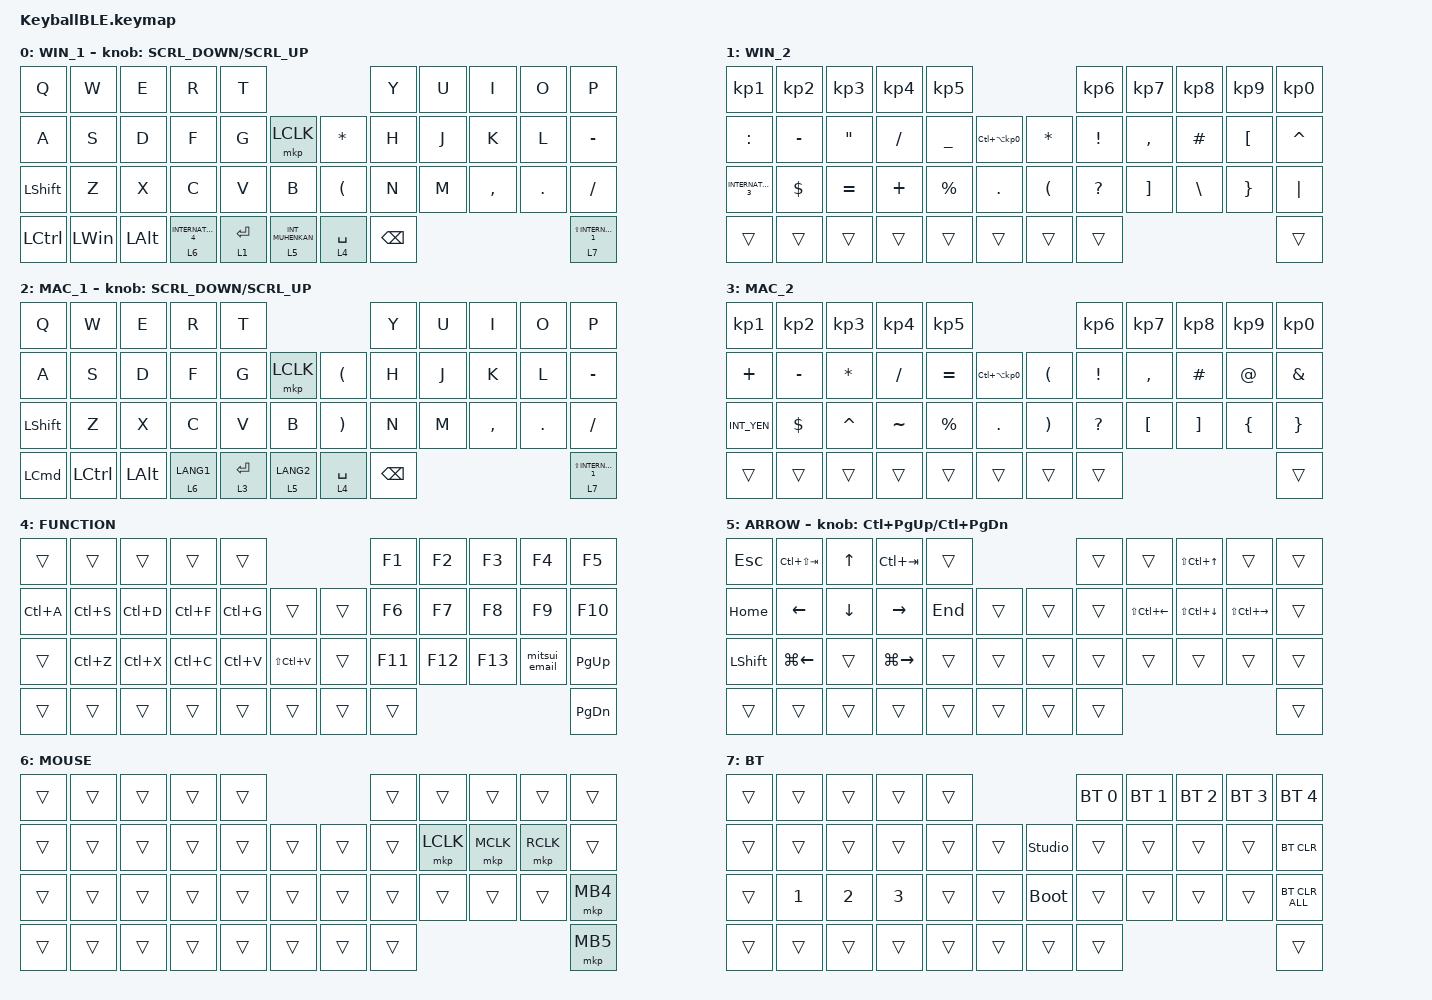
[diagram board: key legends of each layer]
#define ZMK_POINTING_DEFAULT_SCRL_VAL 120    // default: 10

#include <input/processors.dtsi>
#include <behaviors.dtsi>
#include <dt-bindings/zmk/bt.h>
#include <dt-bindings/zmk/keys.h>
#include <dt-bindings/zmk/pointing.h>

#define WIN_1 0
#define WIN_2 1
#define MAC_1 2
#define MAC_2 3
#define FUNCTION 4
#define ARROW 5
#define MOUSE 6
#define BT 7

&mt {
    flavor = "balanced";
    quick-tap-ms = <0>;
};

/ {
    combos {
        compatible = "zmk,combos";

        Win_double_quotation {
            bindings = <&kp AT>;
            key-positions = <8 7>;
            layers = <0>;
        };

        Win_quotation {
            bindings = <&kp AMPERSAND>;
            key-positions = <6 5>;
            layers = <0>;
        };

        tab {
            bindings = <&kp TAB>;
            key-positions = <4 3>;
        };

        Win_colon {
            bindings = <&kp SINGLE_QUOTE>;
            key-positions = <28 40>;
            layers = <0>;
        };

        Win_semi_colon {
            bindings = <&kp SEMICOLON>;
            key-positions = <16 40>;
            layers = <0>;
        };

        left_kakko {
            bindings = <&kp ASTERISK>;
            key-positions = <16 17>;
            layers = <0>;
        };

        right_kakko {
            bindings = <&kp LEFT_PARENTHESIS>;
            key-positions = <28 29>;
            layers = <0>;
        };

        at {
            bindings = <&kp LEFT_BRACKET>;
            key-positions = <10 11>;
            layers = <0>;
        };

        escape {
            bindings = <&kp ESCAPE>;
            key-positions = <0 1>;
        };

        left_kagikakko {
            bindings = <&kp RIGHT_BRACKET>;
            key-positions = <19 20>;
            layers = <0>;
        };

        right_kagikakko {
            bindings = <&kp BACKSLASH>;
            key-positions = <31 32>;
            layers = <0>;
        };

        exclamation {
            bindings = <&kp EXCLAMATION>;
            key-positions = <17 18>;
        };

        question {
            bindings = <&kp QUESTION>;
            key-positions = <29 30>;
        };

        delete {
            bindings = <&kp DELETE>;
            key-positions = <41 40>;
        };

        task_manager {
            bindings = <&kp LA(LC(DELETE))>;
            key-positions = <34 35>;
            layers = <0>;
        };

        ampersand {
            bindings = <&kp CARET>;
            key-positions = <12 13>;
            layers = <0>;
        };

        task_view {
            bindings = <&kp LG(TAB)>;
            key-positions = <22 35>;
            layers = <0>;
        };

        numlock {
            bindings = <&kp KP_NUMLOCK>;
            key-positions = <35 36>;
            layers = <0>;
        };

        ToWin {
            bindings = <&to 0>;
            key-positions = <37 38>;
        };

        ToMac {
            bindings = <&to 2>;
            key-positions = <37 39>;
        };

        Mac_double_quotation {
            bindings = <&kp DOUBLE_QUOTES>;
            key-positions = <7 8>;
            layers = <2>;
        };

        Mac_quotation {
            bindings = <&kp SINGLE_QUOTE>;
            key-positions = <5 6>;
            layers = <2>;
        };
    };

    macros {
        to_layer_0: to_layer_0 {
            compatible = "zmk,behavior-macro-one-param";
            #binding-cells = <1>;
            bindings = <&to 0 &macro_param_1to1 &kp MACRO_PLACEHOLDER>;
            label = "TO_LAYER_0";
        };

        mitsui_email: mitsui_email {
            compatible = "zmk,behavior-macro";
            #binding-cells = <0>;
            bindings = <&none &kp LS(Y) &kp A &kp M &kp A &kp M &kp O &kp T &kp O &kp DOT &kp T &kp A &kp LBKT &kp M &kp I &kp T &kp S &kp U &kp I &kp DOT &kp C &kp O &kp M>;
            label = "MITSUI_EMAIL";
        };
    };

    behaviors {
        lt_to_layer_0: lt_to_layer_0 {
            compatible = "zmk,behavior-hold-tap";
            label = "LAYER_TAP_TO_0";
            bindings = <&mo>, <&to_layer_0>;

            #binding-cells = <2>;
            tapping-term-ms = <200>;
        };

        ROTATE: ROTATE {
            compatible = "zmk,behavior-sensor-rotate-var";
            label = "ROTATE";
            #sensor-binding-cells = <2>;
            bindings = <&msc>, <&msc>;

            tap-ms = <20>;
        };

        tog_on: toggle_layer_on_only {
            compatible = "zmk,behavior-toggle-layer";
            #binding-cells = <1>;
            display-name = "Toggle Layer On";
            toggle-mode = "on";
        };

        tog_off: toggle_layer_off_only {
            compatible = "zmk,behavior-toggle-layer";
            #binding-cells = <1>;
            display-name = "Toggle Layer Off";
            toggle-mode = "off";
        };
    };

    keymap {
        compatible = "zmk,keymap";

        WIN_1 {
            bindings = <
&kp Q             &kp W         &kp E         &kp R                  &kp T                                                      &kp Y          &kp U  &kp I      &kp O       &kp P
&kp A             &kp S         &kp D         &kp F                  &kp G        &mkp LCLK               &kp ASTERISK          &kp H          &kp J  &kp K      &kp L       &kp MINUS
&kp LEFT_SHIFT    &kp Z         &kp X         &kp C                  &kp V        &kp B                   &kp LEFT_PARENTHESIS  &kp N          &kp M  &kp COMMA  &kp PERIOD  &kp SLASH
&kp LEFT_CONTROL  &kp LEFT_WIN  &kp LEFT_ALT  &lt 6 INTERNATIONAL_4  &lt 1 ENTER  &lt 5 INT_MUHENKAN      &lt 4 SPACE           &kp BACKSPACE                                &lt 7 LS(INTERNATIONAL_1)
            >;

            sensor-bindings = <&ROTATE SCRL_DOWN SCRL_UP>;
        };

        WIN_2 {
            bindings = <
&kp KP_NUMBER_1      &kp KP_NUMBER_2  &kp KP_NUMBER_3    &kp KP_NUMBER_4  &kp KP_NUMBER_5                                                     &kp KP_NUMBER_6  &kp KP_NUMBER_7    &kp KP_NUMBER_8  &kp KP_NUMBER_9   &kp KP_NUMBER_0
&kp COLON            &kp MINUS        &kp DOUBLE_QUOTES  &kp SLASH        &kp UNDERSCORE   &kp LC(LA(KP_NUMBER_0))      &kp ASTERISK          &kp EXCLAMATION  &kp COMMA          &kp HASH         &kp LEFT_BRACKET  &kp CARET
&kp INTERNATIONAL_3  &kp DOLLAR       &kp EQUAL          &kp PLUS         &kp PERCENT      &kp PERIOD                   &kp LEFT_PARENTHESIS  &kp QUESTION     &kp RIGHT_BRACKET  &kp BACKSLASH    &kp RIGHT_BRACE   &kp PIPE
&trans               &trans           &trans             &trans           &trans           &trans                       &trans                &trans                                                                 &trans
            >;
        };

        MAC_1 {
            bindings = <
&kp Q             &kp W             &kp E         &kp R        &kp T                                                &kp Y          &kp U  &kp I      &kp O       &kp P
&kp A             &kp S             &kp D         &kp F        &kp G        &mkp LCLK        &kp LEFT_PARENTHESIS   &kp H          &kp J  &kp K      &kp L       &kp MINUS
&kp LEFT_SHIFT    &kp Z             &kp X         &kp C        &kp V        &kp B            &kp RIGHT_PARENTHESIS  &kp N          &kp M  &kp COMMA  &kp PERIOD  &kp SLASH
&kp LEFT_COMMAND  &kp LEFT_CONTROL  &kp LEFT_ALT  &lt 6 LANG1  &lt 3 ENTER  &lt 5 LANG2      &lt 4 SPACE            &kp BACKSPACE                                &lt 7 LS(INTERNATIONAL_1)
            >;

            sensor-bindings = <&ROTATE SCRL_DOWN SCRL_UP>;
        };

        MAC_2 {
            bindings = <
&kp KP_NUMBER_1  &kp KP_NUMBER_2  &kp KP_NUMBER_3  &kp KP_NUMBER_4  &kp KP_NUMBER_5                                                      &kp KP_NUMBER_6  &kp KP_NUMBER_7   &kp KP_NUMBER_8    &kp KP_NUMBER_9  &kp KP_NUMBER_0
&kp PLUS         &kp MINUS        &kp ASTERISK     &kp SLASH        &kp EQUAL        &kp LC(LA(KP_NUMBER_0))      &kp LEFT_PARENTHESIS   &kp EXCLAMATION  &kp COMMA         &kp HASH           &kp AT_SIGN      &kp AMPERSAND
&kp INT_YEN      &kp DOLLAR       &kp CARET        &kp TILDE        &kp PERCENT      &kp PERIOD                   &kp RIGHT_PARENTHESIS  &kp QUESTION     &kp LEFT_BRACKET  &kp RIGHT_BRACKET  &kp LEFT_BRACE   &kp RIGHT_BRACE
&trans           &trans           &trans           &trans           &trans           &trans                       &trans                 &trans                                                                 &trans
            >;
        };

        FUNCTION {
            bindings = <
&trans     &trans     &trans     &trans     &trans                                &kp F1   &kp F2   &kp F3   &kp F4         &kp F5
&kp LC(A)  &kp LC(S)  &kp LC(D)  &kp LC(F)  &kp LC(G)  &trans             &trans  &kp F6   &kp F7   &kp F8   &kp F9         &kp F10
&trans     &kp LC(Z)  &kp LC(X)  &kp LC(C)  &kp LC(V)  &kp LS(LC(V))      &trans  &kp F11  &kp F12  &kp F13  &mitsui_email  &kp PAGE_UP
&trans     &trans     &trans     &trans     &trans     &trans             &trans  &trans                                    &kp PAGE_DOWN
            >;
        };

        ARROW {
            bindings = <
&kp ESCAPE      &kp LC(LS(TAB))     &kp UP_ARROW    &kp LC(TAB)          &trans                       &trans  &trans                  &kp LS(LC(UP_ARROW))    &trans                   &trans
&kp HOME        &kp LEFT_ARROW      &kp DOWN_ARROW  &kp RIGHT_ARROW      &kp END  &trans      &trans  &trans  &kp LS(LC(LEFT_ARROW))  &kp LS(LC(DOWN_ARROW))  &kp LS(LC(RIGHT_ARROW))  &trans
&kp LEFT_SHIFT  &kp LG(LEFT_ARROW)  &trans          &kp LG(RIGHT_ARROW)  &trans   &trans      &trans  &trans  &trans                  &trans                  &trans                   &trans
&trans          &trans              &trans          &trans               &trans   &trans      &trans  &trans                                                                           &trans
            >;

            sensor-bindings = <&inc_dec_kp LC(PAGE_UP) LC(PAGE_DOWN)>;
        };

        MOUSE {
            bindings = <
&trans  &trans  &trans  &trans  &trans                      &trans  &trans     &trans     &trans     &trans
&trans  &trans  &trans  &trans  &trans  &trans      &trans  &trans  &mkp LCLK  &mkp MCLK  &mkp RCLK  &trans
&trans  &trans  &trans  &trans  &trans  &trans      &trans  &trans  &trans     &trans     &trans     &mkp MB4
&trans  &trans  &trans  &trans  &trans  &trans      &trans  &trans                                   &mkp MB5
            >;
        };

        BT {
            bindings = <
&trans  &trans        &trans        &trans        &trans                              &bt BT_SEL 0  &bt BT_SEL 1  &bt BT_SEL 2  &bt BT_SEL 3  &bt BT_SEL 4
&trans  &trans        &trans        &trans        &trans  &trans      &studio_unlock  &trans        &trans        &trans        &trans        &bt BT_CLR
&trans  &kp NUMBER_1  &kp NUMBER_2  &kp NUMBER_3  &trans  &trans      &bootloader     &trans        &trans        &trans        &trans        &bt BT_CLR_ALL
&trans  &trans        &trans        &trans        &trans  &trans      &trans          &trans                                                  &trans
            >;
        };
    };
};
